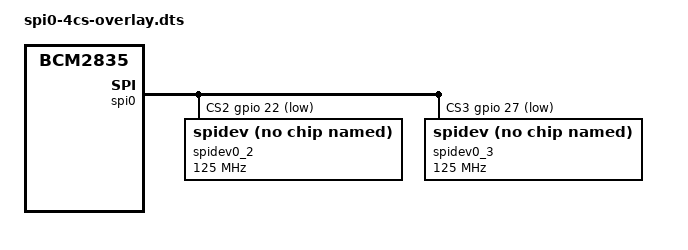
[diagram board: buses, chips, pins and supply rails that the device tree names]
/dts-v1/;
/plugin/;

/* See https://www.raspberrypi.org/forums/viewtopic.php?p=1852392#p1471583 */

/ {
	compatible = "brcm,bcm2835";

	fragment@0 {
		target = <&spi0_cs_pins>;
		frag0: __overlay__ {
			brcm,pins = <8 7 22 27>; /* header pins 24, 26, 15, 13 */
			brcm,function = <1>;     /* out */
		};
	};

	fragment@1 {
		target = <&spi0>;
		frag1: __overlay__ {
			#address-cells = <1>;
			#size-cells = <0>;

			cs-gpios = <&gpio 8 1>, <&gpio 7 1>, <&gpio 22 1>, <&gpio 27 1>;
			status = "okay";

			spidev0_2: spidev@2 {
				compatible = "spidev";
				reg = <2>;	/* CE2 */
				#address-cells = <1>;
				#size-cells = <0>;
				spi-max-frequency = <125000000>;
			};

                        spidev0_3: spidev@3 {
                                compatible = "spidev";
                                reg = <3>;      /* CE3 */
                                #address-cells = <1>;
                                #size-cells = <0>;
                                spi-max-frequency = <125000000>;
                        };
		};
	};

	__overrides__ {
		cs0_pin  = <&frag0>,"brcm,pins:0",
			   <&frag1>,"cs-gpios:4";
		cs1_pin  = <&frag0>,"brcm,pins:4",
			   <&frag1>,"cs-gpios:16";
		cs2_pin  = <&frag0>,"brcm,pins:8",
			   <&frag1>,"cs-gpios:28";
		cs3_pin  = <&frag0>,"brcm,pins:12",  /* Offset 4*CS into brcm pins array */
			   <&frag1>,"cs-gpios:40";   /* Offset 12*CS+4 into the cs-gpios array of structs */
		/* See https://www.raspberrypi.org/forums/viewtopic.php?p=1852392#p1850334 */
		cs2_spidev = <&spidev0_2>, "status";
		cs3_spidev = <&spidev0_3>, "status";
 	};
};
